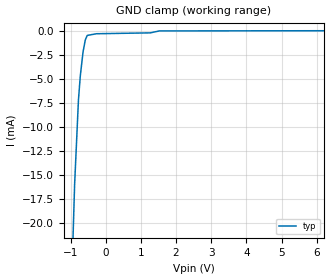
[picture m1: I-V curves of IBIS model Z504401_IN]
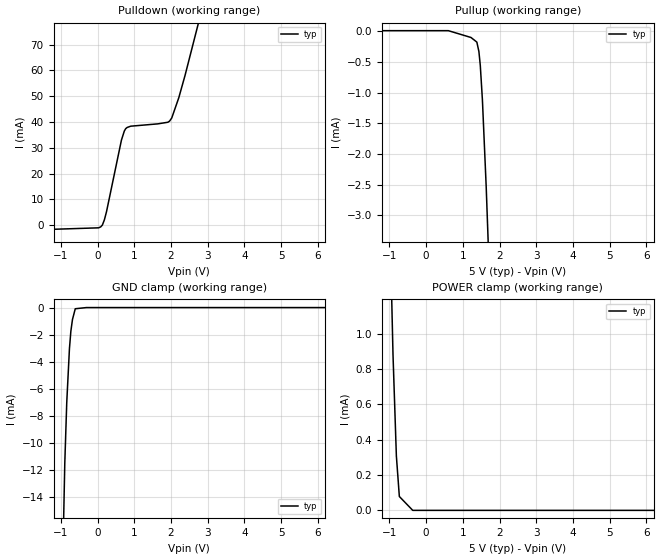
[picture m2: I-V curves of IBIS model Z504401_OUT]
| YOU ARE ONLY AUTHORIZED TO USE THIS SOFTWARE
| ACCORDING TO LICENSOR'S LICENSE RESTRICTIONS.
[IBIS Ver] 3.1
[File Name] sn54ls174j.ibs
[File Rev] 2.0
[Source] Measured and created by ICX Technology
[Date] Friday 7/14/00 9:08:14 AM
[Copyright]
| (C) COPYRIGHT 1993-2000
| MENTOR GRAPHICS CORPORATION
| ICX STANDARD LIBRARY, ICX PROJECT MODELING,
| ICX CUSTOM MODELING, ICX VENDOR MODEL
| ALL RIGHTS RESERVED.
| THE FOLLOWING ARE TRADEMARKS OR SERVICE MARKS OF
| MENTOR GRAPHICS CORPORATION:ICX (R), ICX STANDARD
| LIBRARY(R), ICX PROJECT MODELING(R), ICX CUSTOM
| MODELING(R), qualityIBIS(TM), MODELVIEWER(TM),
| AND MODELEDITOR(TM)
| ALL COPIES OF SOFTWARE, INCLUDING BUT NOT LIMITED TO
| ANY MODIFICATIONS, ENHANCEMENTS OR DERIVATIVE WORKS,
| MUST CONTAIN ALL MENTOR GRAPHICS CORPORATION'S
| NOTICES AND LEGENDS, INCLUDING THOSE EMBEDDED IN
| SOFTWARE AND THOSE AFFIXED TO SOFTWARE MEDIUM
| AND CONTAINER, AS RECEIVED FROM MENTOR GRAPHICS
| CORPORATION.
|  ZAP Model Builder 2.7
[Component] SN54LS174J
[Manufacturer] OnSemiconductor
[Package]
| variable   typ   min   max
R_pkg  .212ohms NA NA
L_pkg  4.758nH NA NA
C_pkg  1.944pF NA NA
[Pin] signal_name  model_name  R_pin  L_pin C_pin
1 _CLR Z504401_IN .224 7.258n 2.683p
2 Q0 Z504401_OUT .216 5.258n 2.19p
3 D0 Z504401_IN .208 3.758n 1.697p
4 D1 Z504401_IN .2 2.758n 1.204p
5 Q1 Z504401_OUT .2 2.758n 1.204p
6 D2 Z504401_IN .208 3.758n 1.697p
7 Q2 Z504401_OUT .216 5.258n 2.19p
8 GND GND .224 7.258n 2.683p
9 CLK Z504401_IN .224 7.258n 2.683p
10 Q3 Z504401_OUT .216 5.258n 2.19p
11 D3 Z504401_IN .208 3.758n 1.697p
12 Q4 Z504401_OUT .2 2.758n 1.204p
13 D4 Z504401_IN .2 2.758n 1.204p
14 D5 Z504401_IN .208 3.758n 1.697p
15 Q5 Z504401_OUT .216 5.258n 2.19p
16 VCC POWER .224 7.258n 2.683p
| Models and submodels in the file (2): Z504401_IN (Input), Z504401_OUT (Output)
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| (C) COPYRIGHT 1993-2000
| MENTOR GRAPHICS CORPORATION
| ICX STANDARD LIBRARY, ICX PROJECT MODELING,
| ICX CUSTOM MODELING, ICX VENDOR MODEL
| ALL RIGHTS RESERVED.
| THE FOLLOWING ARE TRADEMARKS OR SERVICE MARKS OF
| MENTOR GRAPHICS CORPORATION:ICX (R), ICX STANDARD
| LIBRARY(R), ICX PROJECT MODELING(R), ICX CUSTOM
| MODELING(R), qualityIBIS(TM), MODELVIEWER(TM),
| AND MODELEDITOR(TM)
| ALL COPIES OF SOFTWARE, INCLUDING BUT NOT LIMITED TO
| ANY MODIFICATIONS, ENHANCEMENTS OR DERIVATIVE WORKS,
| MUST CONTAIN ALL MENTOR GRAPHICS CORPORATION'S
| NOTICES AND LEGENDS, INCLUDING THOSE EMBEDDED IN
| SOFTWARE AND THOSE AFFIXED TO SOFTWARE MEDIUM
| AND CONTAINER, AS RECEIVED FROM MENTOR GRAPHICS
| CORPORATION.
| Model Application Version 1.89 2/18/99.
[Model] Z504401_IN
Model_type Input
Vinl = 800.0mV
Vinh = 2.000V
C_comp 4.000pF NA NA
| variable typ   min   max
[Voltage Range] 5.000V NA NA
[GND Clamp Reference] 0.000V NA NA
[POWER Clamp Reference] 5.000V NA NA
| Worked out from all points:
|   GND clamp passes 1 mA (typ) near -0.58 V on its own axis
[GND Clamp]
-5V       -517.7mA   NA         NA
-884.5mV  -16mA      NA         NA
-775.8mV  -7.219mA   NA         NA
-722.7mV  -4.686mA   NA         NA
-644.5mV  -2.186mA   NA         NA
-581.1mV  -952.6uA   NA         NA
-527.2mV  -482.1uA   NA         NA
-263.6mV  -303.6uA   NA         NA
1.267V    -213.5uA   NA         NA
1.523V    -11.15uA   NA         NA
10V       25.86uA    NA         NA
[POWER Clamp]
-5V       0A         NA         NA
10V       0A         NA         NA
| (C) COPYRIGHT 1993-2000
| MENTOR GRAPHICS CORPORATION
| ICX STANDARD LIBRARY, ICX PROJECT MODELING,
| ICX CUSTOM MODELING, ICX VENDOR MODEL
| ALL RIGHTS RESERVED.
| THE FOLLOWING ARE TRADEMARKS OR SERVICE MARKS OF
| MENTOR GRAPHICS CORPORATION:ICX (R), ICX STANDARD
| LIBRARY(R), ICX PROJECT MODELING(R), ICX CUSTOM
| MODELING(R), qualityIBIS(TM), MODELVIEWER(TM),
| AND MODELEDITOR(TM)
| ALL COPIES OF SOFTWARE, INCLUDING BUT NOT LIMITED TO
| ANY MODIFICATIONS, ENHANCEMENTS OR DERIVATIVE WORKS,
| MUST CONTAIN ALL MENTOR GRAPHICS CORPORATION'S
| NOTICES AND LEGENDS, INCLUDING THOSE EMBEDDED IN
| SOFTWARE AND THOSE AFFIXED TO SOFTWARE MEDIUM
| AND CONTAINER, AS RECEIVED FROM MENTOR GRAPHICS
| CORPORATION.
| Model Application Version 1.89 2/18/99.
[Model] Z504401_OUT
Model_type Output
Vref=5.000V
Rref=2.000kohms
Cref=15.00pF
Vmeas=1.300V
C_comp 8.000pF NA NA
| variable typ   min   max
[Voltage Range] 5.000V NA NA
[POWER Clamp Reference] 5.000V NA NA
[Pullup Reference] 5.000V NA NA
[Pulldown Reference] 0.000V NA NA
[GND Clamp Reference] 0.000V NA NA
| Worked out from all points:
|   slope of the pulldown table from 0 to 0.75 V, typ, clamps not added: 19.7 ohm
|   slope of the pullup table from 0 to 0.75 V, typ, clamps not added: 28.5 kohm
|   GND clamp passes 1 mA (typ) near -0.69 V on its own axis
|   POWER clamp passes 1 mA (typ) near -0.92 V on its own axis
[GND Clamp]
-5V       -906.7mA   NA         NA
-1.215V   -64.08mA   NA         NA
-1.034V   -30.02mA   NA         NA
-893.4mV  -11.51mA   NA         NA
-839.8mV  -7.001mA   NA         NA
-766.4mV  -3.028mA   NA         NA
-727.5mV  -1.738mA   NA         NA
-683.7mV  -877.2uA   NA         NA
-607.8mV  -87.2uA    NA         NA
-303.9mV  0A         NA         NA
10V       0A         NA         NA
[Pulldown]
-5V       -3.328mA   NA         NA
29.3mV    -1.009mA   NA         NA
131.8mV   92.28uA    NA         NA
186.5mV   2.142mA    NA         NA
649.6mV   32.98mA    NA         NA
728.5mV   36.51mA    NA         NA
903.2mV   38.39mA    NA         NA
1.963V    40.39mA    NA         NA
2.02V     41.56mA    NA         NA
2.212V    49.41mA    NA         NA
2.383V    58.1mA     NA         NA
10V       481.9mA    NA         NA
[Pullup]
-5V       13.33uA    NA         NA
604mV     13.33uA    NA         NA
1.221V    -97.91uA   NA         NA
1.381V    -173.1uA   NA         NA
1.437V    -326.6uA   NA         NA
1.475V    -553.7uA   NA         NA
1.533V    -1.118mA   NA         NA
1.636V    -2.536mA   NA         NA
10V       -141.9mA   NA         NA
[POWER Clamp]
-5V       45.33mA    NA         NA
-1.015V   1.891mA    NA         NA
-903mV    883.9uA    NA         NA
-811mV    308.4uA    NA         NA
-730mV    78.61uA    NA         NA
-365mV    0A         NA         NA
10V       0A         NA         NA
[Ramp]
| variable typ min max
dV/dt_r 1.816/10.14n NA NA
dV/dt_f 1.816/2.594n NA NA
R_load = 500.0Ohms
